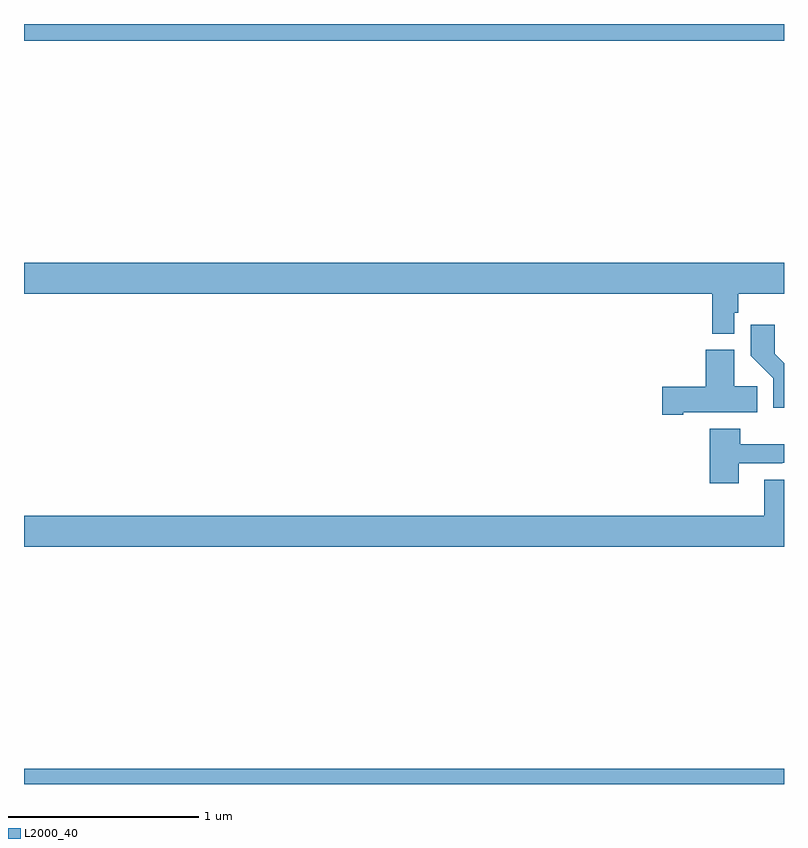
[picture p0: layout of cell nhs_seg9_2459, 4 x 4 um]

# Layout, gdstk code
import gdstk
lib = gdstk.Library(unit=1e-6, precision=1e-09)
def R(c, l, rs):  # rectangles x0, y0, x1, y1
    for r in rs: c.add(gdstk.rectangle(r[:2], r[2:], *l))
def P(c, l, *ps):  # polygons
    for p in ps: c.add(gdstk.Polygon(p, *l))
L2000_40 = (2000, 40)

nhs_seg9_2459 = lib.new_cell('nhs_seg9_2459')
R(nhs_seg9_2459, L2000_40, [(251,1200.5,255,1200.58), (251,1204.412,255,1204.5)])
P(nhs_seg9_2459, L2000_40, [(254.739,1202.979),(254.759,1202.979),(254.759,1203.08),(255,1203.08),(255,1203.244),(251,1203.244),(251,1203.08),(254.623,1203.08),(254.623,1202.87),(254.739,1202.87)],
  [(255,1202.715),(254.95,1202.765),(254.95,1202.917),(254.824,1202.917),(254.824,1202.754),(254.943,1202.635),(254.943,1202.48),(255,1202.48)],
  [(254.47,1202.456),(254.858,1202.456),(254.858,1202.594),(254.737,1202.594),(254.737,1202.785),(254.588,1202.785),(254.588,1202.591),(254.358,1202.591),(254.358,1202.444),(254.47,1202.444)],
  [(254.761,1202.187),(254.99,1202.187),(254.99,1202.19),(255,1202.19),(255,1202.287),(254.769,1202.287),(254.769,1202.371),(254.609,1202.371),(254.609,1202.082),(254.761,1202.082)],
  [(255,1202.102),(254.897,1202.102),(254.897,1201.912),(251,1201.912),(251,1201.748),(255,1201.748)])

lib.write_gds('nhs_seg9_2459.gds')
